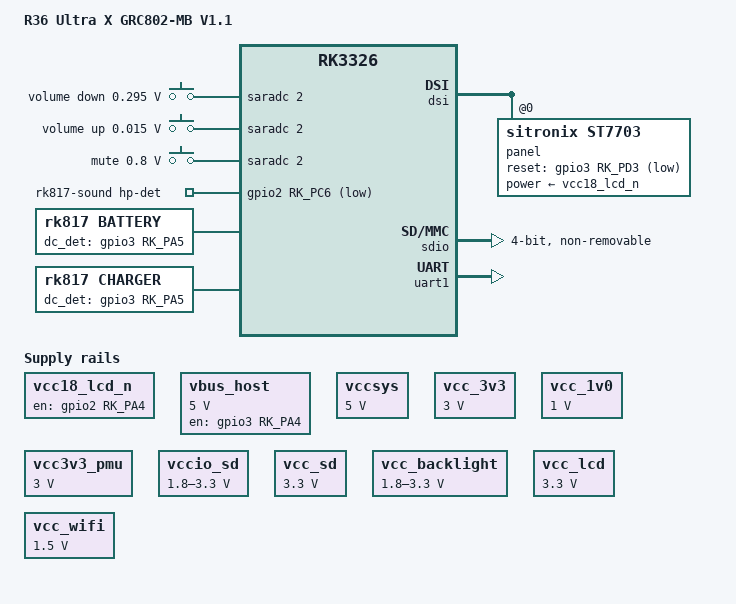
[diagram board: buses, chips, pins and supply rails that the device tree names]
// SPDX-License-Identifier: (GPL-2.0+ OR MIT)
/* GRC802-MB V1.1, R36 Ultra X. Pins and panel data from stock EmuELEC. */
/dts-v1/;
#include "rk3326-r36s-android.dtsi"

/* Keep one canonical pad; stock working UDT uses the EE SARADC1 mux. */
/delete-node/ &gpio_keys;
/delete-node/ &leds;
/delete-node/ &{/rk817-sound};

/ {
	model = "R36 Ultra X GRC802-MB V1.1";
	compatible = "grc802,r36-ultra-x", "rockchip,rk3326";

	firmware {
		android {
			compatible = "android,firmware";
			lcd_density = "304";
		};
	};





	/* Stock volume ladder on ADC2; sticks now use the proven SARADC1 mux. */
	adc-keys {
		compatible = "adc-keys";
		io-channels = <&saradc 2>;
		io-channel-names = "buttons";
		poll-interval = <100>;
		keyup-threshold-microvolt = <1800000>;
		vol-down { label = "volume down"; linux,code = <KEY_VOLUMEDOWN>; press-threshold-microvolt = <295000>; };
		vol-up { label = "volume up"; linux,code = <KEY_VOLUMEUP>; press-threshold-microvolt = <15000>; };
		mute { label = "mute"; linux,code = <KEY_MUTE>; press-threshold-microvolt = <800000>; };
	};

	vcc18_lcd_n: vcc18-lcd-n {
		compatible = "regulator-fixed";
		regulator-name = "vcc18_lcd_n";
		regulator-boot-on;
		gpio = <&gpio2 RK_PA4 GPIO_ACTIVE_HIGH>;
		enable-active-high;
		regulator-state-mem { regulator-off-in-suspend; };
	};

	vbus_host: vbus-host-regulator {
		compatible = "regulator-fixed";
		regulator-name = "vbus_host";
		regulator-boot-on;
		regulator-always-on;
		gpio = <&gpio3 RK_PA4 GPIO_ACTIVE_HIGH>;
		enable-active-high;
		regulator-min-microvolt = <5000000>;
		regulator-max-microvolt = <5000000>;
	};

	rk817-sound {
		compatible = "simple-audio-card";
		simple-audio-card,name = "rockchip,rk817-codec";
		simple-audio-card,format = "i2s";
		simple-audio-card,mclk-fs = <256>;
		simple-audio-card,widgets = "Microphone", "Mic Jack", "Headphone", "Headphone Jack";
		simple-audio-card,routing = "MIC_IN", "Mic Jack", "Headphone Jack", "HPOL", "Headphone Jack", "HPOR";
		simple-audio-card,hp-det-gpio = <&gpio2 RK_PC6 GPIO_ACTIVE_LOW>;
		pinctrl-names = "default";
		pinctrl-0 = <&grc802_hp_det>;
		simple-audio-card,cpu { sound-dai = <&i2s1_2ch>; };
		simple-audio-card,codec { sound-dai = <&rk817_codec>; };
	};
};

&pinctrl {
	grc802 {
		grc802_button_pins: button-pins {
			rockchip,pins =
				<3 RK_PB3 RK_FUNC_GPIO &pcfg_pull_up>,
				<3 RK_PA0 RK_FUNC_GPIO &pcfg_pull_up>,
				<3 RK_PB5 RK_FUNC_GPIO &pcfg_pull_up>,
				<3 RK_PA6 RK_FUNC_GPIO &pcfg_pull_up>,
				<3 RK_PC0 RK_FUNC_GPIO &pcfg_pull_up>,
				<3 RK_PC1 RK_FUNC_GPIO &pcfg_pull_up>,
				<3 RK_PC2 RK_FUNC_GPIO &pcfg_pull_up>,
				<3 RK_PC3 RK_FUNC_GPIO &pcfg_pull_up>,
				<3 RK_PC4 RK_FUNC_GPIO &pcfg_pull_up>,
				<3 RK_PC5 RK_FUNC_GPIO &pcfg_pull_up>,
				<3 RK_PC6 RK_FUNC_GPIO &pcfg_pull_up>,
				<3 RK_PC7 RK_FUNC_GPIO &pcfg_pull_up>,
				<3 RK_PD0 RK_FUNC_GPIO &pcfg_pull_up>,
				<3 RK_PD1 RK_FUNC_GPIO &pcfg_pull_up>,
				<3 RK_PD2 RK_FUNC_GPIO &pcfg_pull_up>,
				<2 RK_PB2 RK_FUNC_GPIO &pcfg_pull_up>,
				<2 RK_PB5 RK_FUNC_GPIO &pcfg_pull_up>,
				<2 RK_PB6 RK_FUNC_GPIO &pcfg_pull_up>,
				<2 RK_PB3 RK_FUNC_GPIO &pcfg_pull_up>,
				<2 RK_PB7 RK_FUNC_GPIO &pcfg_pull_up>,
				<2 RK_PC0 RK_FUNC_GPIO &pcfg_pull_up>;
		};
		grc802_hp_det: hp-det { rockchip,pins = <2 RK_PC6 RK_FUNC_GPIO &pcfg_pull_up>; };
	};
};

&backlight {
    pwms = <&pwm1 0 25000 0>;
    brightness-levels = <
        0 1 2 3 4 5 6 7 8 9 10 11 12 13 14 15
        16 17 18 19 20 21 22 23 24 25 26 27 28 29 30 31
        32 33 34 35 36 37 38 39 40 41 42 43 44 45 46 47
        48 49 50 51 52 53 54 55 56 57 58 59 60 61 62 63
        64 65 66 67 68 69 70 71 72 73 74 75 76 77 78 79
        80 81 82 83 84 85 86 87 88 89 90 91 92 93 94 95
        96 97 98 99 100 101 102 103 104 105 106 107 108 109 110 111
        112 113 114 115 116 117 118 119 120 121 122 123 124 125 126 127
        128 129 130 131 132 133 134 135 136 137 138 139 140 141 142 143
        144 145 146 147 148 149 150 151 152 153 154 155 156 157 158 159
        160 161 162 163 164 165 166 167 168 169 170 171 172 173 174 175
        176 177 178 179 180 181 182 183 184 185 186 187 188 189 190 191
        192 193 194 195 196 197 198 199 200 201 202 203 204 205 206 207
        208 209 210 211 212 213 214 215 216 217 218 219 220 221 222 223
        224 225 226 227 228 229 230 231 232 233 234 235 236 237 238 239
        240 241 242 243 244 245 246 247 248 249 250 251 252 253 254 255
    >;
    default-brightness-level = <200>;
};
&status_led { status = "disabled"; };
&pwm0 { status = "disabled"; };

&dsi {
	panel@0 {
		compatible = "sitronix,st7703", "simple-panel-dsi";
		power-supply = <&vcc18_lcd_n>;
		reset-gpios = <&gpio3 RK_PD3 GPIO_ACTIVE_LOW>;
		prepare-delay-ms = <20>;
		reset-delay-ms = <20>;
		init-delay-ms = <20>;
		enable-delay-ms = <120>;
		disable-delay-ms = <20>;
		unprepare-delay-ms = <20>;
		width-mm = <153>;
		height-mm = <85>;
		dsi,flags = <0xa03>;
		dsi,format = <0>;
		dsi,lanes = <4>;
		panel-init-sequence = [
			15 00 02 ee 01 15 00 02 ea 07 15 00 02 eb 12 15 00 02 0a 5e
			15 00 02 13 14 15 00 02 17 35 15 00 02 1d 33 15 00 02 21 01
			15 00 02 28 28 15 00 02 29 18 15 00 02 2a 63 15 00 02 2f f3
			15 00 02 ee 02 15 00 02 39 a9 15 00 02 00 00 15 00 02 01 0d
			15 00 02 02 12 15 00 02 03 08 15 00 02 04 0e 15 00 02 05 30
			15 00 02 06 0b 15 00 02 07 0e 15 00 02 08 0f 15 00 02 09 0e
			15 00 02 0a 11 15 00 02 0b 4e 15 00 02 0c 14 15 00 02 0d 1a
			15 00 02 0e 2f 15 00 02 0f 36 15 00 02 10 3f 15 00 02 20 00
			15 00 02 21 0d 15 00 02 22 12 15 00 02 23 08 15 00 02 24 0e
			15 00 02 25 30 15 00 02 26 0b 15 00 02 27 0e 15 00 02 28 0f
			15 00 02 29 0e 15 00 02 2a 11 15 00 02 2b 4e 15 00 02 2c 14
			15 00 02 2d 1a 15 00 02 2e 2f 15 00 02 2f 36 15 00 02 30 3f
			15 00 02 ee 04 15 00 02 00 05 15 00 02 01 01 15 00 02 02 80
			15 00 02 03 04 15 00 02 04 00 15 00 02 06 06 15 00 02 07 05
			15 00 02 08 1a 15 00 02 09 20 15 00 02 0a 0e 15 00 02 0b 00
			15 00 02 20 40 15 00 02 24 08 15 00 02 ee 05 15 00 02 00 01
			15 00 02 01 09 15 00 02 02 05 15 00 02 03 05 15 00 02 07 05
			15 00 02 08 0d 15 00 02 09 00 15 00 02 0a 12 15 00 02 0b 14
			15 00 02 0c 66 15 00 02 10 03 15 00 02 11 07 15 00 02 12 05
			15 00 02 13 05 15 00 02 19 12 15 00 02 1a f6 15 00 02 40 55
			15 00 02 41 00 15 00 02 43 03 15 00 02 44 01 15 00 02 45 81
			15 00 02 46 06 15 00 02 47 00 15 00 02 ee 06 15 00 02 00 45
			15 00 02 02 01 15 00 02 04 88 15 00 02 06 cd 15 00 02 08 ef
			15 00 02 09 cd 15 00 02 0a ab 15 00 02 0b 89 15 00 02 0c 67
			15 00 02 0d 45 15 00 02 0e 23 15 00 02 0f 01 15 00 02 ee 07
			15 00 02 00 3c 15 00 02 01 3c 15 00 02 02 3c 15 00 02 03 3c
			15 00 02 04 0d 15 00 02 05 3c 15 00 02 06 3c 15 00 02 07 3c
			15 00 02 08 08 15 00 02 09 10 15 00 02 0a 12 15 00 02 0b 14
			15 00 02 0c 16 15 00 02 0d 18 15 00 02 0e 1a 15 00 02 0f 1c
			15 00 02 10 1e 15 00 02 11 04 15 00 02 12 00 15 00 02 13 3c
			15 00 02 14 0c 15 00 02 15 3c 15 00 02 20 3c 15 00 02 21 3c
			15 00 02 22 3c 15 00 02 23 3c 15 00 02 24 0d 15 00 02 25 3c
			15 00 02 26 3c 15 00 02 27 3c 15 00 02 28 08 15 00 02 29 11
			15 00 02 2a 13 15 00 02 2b 15 15 00 02 2c 17 15 00 02 2d 19
			15 00 02 2e 1b 15 00 02 2f 1d 15 00 02 30 1f 15 00 02 31 05
			15 00 02 32 01 15 00 02 33 3c 15 00 02 34 0c 15 00 02 35 3c
			15 00 02 ee 08 15 00 02 10 00 15 00 02 12 dc 15 00 02 13 1c
			15 00 02 17 23 15 00 02 18 20 15 00 02 20 80 15 00 02 ee 0f
			15 00 02 00 01 15 00 02 01 00 15 00 02 ee 00 15 00 02 ea 00
			15 00 02 eb 00 15 00 02 36 00 05 c8 01 11 05 14 01 29
		];
		panel-exit-sequence = [05 00 01 28 05 00 01 10];
	};
};

&timing0 {
	clock-frequency = <62000000>;
	hactive = <1024>;
	vactive = <768>;
	hfront-porch = <90>;
	hsync-len = <80>;
	hback-porch = <80>;
	vfront-porch = <16>;
	vsync-len = <8>;
	vback-porch = <8>;
	hsync-active = <0>;
	vsync-active = <0>;
	de-active = <0>;
	pixelclk-active = <0>;
};

/* The base already routes DSI through VOPB, as on R46H. */
&dmc_opp_table { opp-786000000 { status = "disabled"; }; };
&uart2 { status = "disabled"; };
&{/fiq-debugger} {
	/* Preserve this board's existing UART5 routing; no new console. */
	status = "okay"; rockchip,serial-id = <5>; pinctrl-0 = <&uart5_xfer>; };
&sdio { status = "disabled"; };
&{/wireless-wlan} { status = "disabled"; };
&u2phy_host { phy-supply = <&vbus_host>; };

&rk817 {
	battery {
				compatible = "rk817,battery";
				ocv_table = <0xdac 0xdc5 0xdea 0xe07 0xe20 0xe33 0xe45 0xe58 0xe6f 0xe8d 0xeb1 0xedd 0xf0a 0xf35 0xf60 0xf89 0xfb1 0xfd4 0xff6 0x101d 0x1053>;
				design_capacity = <0xe03>;
				design_qmax = <0x1013>;
				bat_res = <0x6d>;
				design_max_voltage = <0x1018>;
				sleep_enter_current = <0x12c>;
				sleep_exit_current = <0x12c>;
				sleep_filter_current = <0x64>;
				power_off_thresd = <0xdac>;
				zero_algorithm_vol = <0xf0a>;
				max_soc_offset = <0x3c>;
				monitor_sec = <0x5>;
				sample_res = <0xa>;
				virtual_power = <0x0>;
				dc_det_gpio = <&gpio3 RK_PA5 GPIO_ACTIVE_HIGH>;
			};
	charger {
		/delete-property/ bat_low_gpio;
				compatible = "rk817,charger";
				min_input_voltage = <0x1194>;
				max_input_current = <0x640>;
				max_chrg_current = <0x640>;
				max_chrg_voltage = <0x10fe>;
				chrg_term_mode = <0x0>;
				chrg_finish_cur = <0x12c>;
				virtual_power = <0x0>;
				dc_det_gpio = <&gpio3 RK_PA5 GPIO_ACTIVE_HIGH>;
				dc_det_adc = <0x0>;
				extcon = <&u2phy>;
			};
};
&rk817_codec {
	spk-ctl-gpios = <&gpio3 RK_PA7 GPIO_ACTIVE_HIGH>;
	spk-mute-delay-ms = <500>;
	use-ext-amplifier;
	hp-volume = <15>;
	spk-volume = <15>;
};
&pmic_int { rockchip,pins = <0 RK_PB2 RK_FUNC_GPIO &pcfg_pull_up>; };
&vccsys { regulator-name = "vcc5v0_sys"; regulator-boot-on; regulator-min-microvolt = <5000000>; regulator-max-microvolt = <5000000>; };

/* DCDC_REG4 feeds vccio4/5: stock is 3.0 V, not the base label's 3.3 V. */
&vcc_3v3 {
    regulator-name = "vcc_3v0";
    regulator-always-on;
    regulator-boot-on;
    regulator-min-microvolt = <3000000>;
    regulator-max-microvolt = <3000000>;
    regulator-state-mem {
        regulator-on-in-suspend;
        regulator-suspend-microvolt = <3000000>;
    };
};

&vcc_1v0 {
					regulator-always-on;
					regulator-boot-on;
					regulator-min-microvolt = <0xf4240>;
					regulator-max-microvolt = <0xf4240>;
					regulator-name = "vcc1v0_soc";

					regulator-state-mem {
						regulator-on-in-suspend;
						regulator-suspend-microvolt = <0xf4240>;
					};
				};

&vcc3v3_pmu {
					regulator-always-on;
					regulator-boot-on;
					regulator-min-microvolt = <0x2dc6c0>;
					regulator-max-microvolt = <0x2dc6c0>;
					regulator-name = "vcc3v0_pmu";

					regulator-state-mem {
						regulator-on-in-suspend;
						regulator-suspend-microvolt = <0x2dc6c0>;
					};
				};

&vccio_sd {
					regulator-always-on;
					regulator-boot-on;
					regulator-min-microvolt = <0x1b7740>;
					regulator-max-microvolt = <0x325aa0>;
					regulator-name = "vccio_sd";

					regulator-state-mem {
						regulator-on-in-suspend;
						regulator-suspend-microvolt = <0x325aa0>;
					};
				};

&vcc_sd {
					regulator-min-microvolt = <0x325aa0>;
					regulator-max-microvolt = <0x325aa0>;
					regulator-name = "vcc_sd";

					regulator-state-mem {
						regulator-on-in-suspend;
						regulator-suspend-microvolt = <0x325aa0>;
					};
				};

&vcc_backlight {
					regulator-always-on;
					regulator-boot-on;
					regulator-min-microvolt = <0x1b7740>;
					regulator-max-microvolt = <0x325aa0>;
					regulator-name = "vcc2v8_dvp";

					regulator-state-mem {
						regulator-on-in-suspend;
						regulator-suspend-microvolt = <0x325aa0>;
					};
				};

&vcc_lcd {
					regulator-always-on;
					regulator-boot-on;
					regulator-min-microvolt = <0x325aa0>;
					regulator-max-microvolt = <0x325aa0>;
					regulator-name = "vcc1v8_dvp";

					regulator-state-mem {
						regulator-on-in-suspend;
						regulator-suspend-microvolt = <0x325aa0>;
					};
				};

&vcc_wifi {
					regulator-always-on;
					regulator-boot-on;
					regulator-min-microvolt = <0x16e360>;
					regulator-max-microvolt = <0x16e360>;
					regulator-name = "vdd1v5_dvp";

					regulator-state-mem {
						regulator-off-in-suspend;
						regulator-suspend-microvolt = <0x16e360>;
					};
				};

&io_domains {
	vccio1-supply = <&vcc_backlight>;
	vccio2-supply = <&vccio_sd>;
	vccio3-supply = <&vcc1v8_soc>;
	vccio4-supply = <&vcc_3v3>;
	vccio5-supply = <&vcc_3v3>;
	/delete-property/ vccio6-supply;
};

/* Stock SV6160/RK915 wiring; reuse the existing vendor RK915 driver. */
/ {

	wireless-bluetooth {
		compatible = "bluetooth-platdata";
		clock-names = "ext_clock";
		uart_rts_gpios = <&gpio1 RK_PC3 GPIO_ACTIVE_LOW>;
		pinctrl-names = "default", "rts_gpio";
		pinctrl-0 = <&uart1_rts>;
		pinctrl-1 = <&uart1_rts_gpio>;
		BT,reset_gpio = <&gpio0 RK_PA0 GPIO_ACTIVE_HIGH>;
		BT,wake_gpio = <&gpio0 RK_PA1 GPIO_ACTIVE_HIGH>;
		BT,wake_host_irq = <&gpio0 RK_PA7 GPIO_ACTIVE_HIGH>;
		/* Disabled in stock. No compatible Seekwave BT transport is ported. */
		status = "disabled";
	};

	/* Stock's alternate boot binding is disabled and uses A5 for host wake. */
	seekwcn_boot {
		compatible = "seekwave,sv6160";
		dma_type = <1>;
		gpio_host_wake = <&gpio0 RK_PA5 GPIO_ACTIVE_LOW>;
		gpio_chip_wake = <&gpio0 RK_PA1 GPIO_ACTIVE_HIGH>;
		gpio_chip_en = <&gpio0 RK_PA2 GPIO_ACTIVE_HIGH>;
		status = "disabled";
	};
};

&{/wireless-wlan} {
	wifi_chip_type = "rk915";
	WIFI,poweren_gpio = <&gpio0 RK_PA2 GPIO_ACTIVE_HIGH>;
	WIFI,host_wake_irq = <&gpio0 RK_PA1 GPIO_ACTIVE_HIGH>;
	/* Vendor rfkill power glue is the sole owner of GPIO0_A2. */
	status = "okay";
};

&sdio {
	/delete-property/ andr36oid,second-card-slot;
	/delete-property/ cd-gpios;
	/delete-property/ supports-sd;
	/delete-property/ cap-mmc-highspeed;
	/delete-property/ sd-uhs-sdr12;
	/delete-property/ sd-uhs-sdr25;
	/delete-property/ sd-uhs-sdr50;
	/delete-property/ sd-uhs-sdr104;
	/delete-property/ card-detect-delay;
	/delete-property/ vmmc-supply;
	/delete-property/ vqmmc-supply;
	#address-cells = <1>;
	#size-cells = <0>;
	bus-width = <4>;
	max-frequency = <50000000>;
	cap-sd-highspeed;
	cap-sdio-irq;
	supports-sdio;
	supports-rk915;
	keep-power-in-suspend;
	non-removable;
	pinctrl-names = "default";
	pinctrl-0 = <&sdio_bus4 &sdio_cmd &sdio_clk>;
	status = "okay";

};

/* Stock enables UART1 with CTS, leaving RTS to bluetooth-platdata. */
&uart1 {
	pinctrl-names = "default";
	pinctrl-0 = <&uart1_xfer &uart1_cts>;
	status = "okay";
};


/* Latest reporter-corrected functioning UDT R36UltraX tree:
 * SARADC1 behind A/B/EN = GPIO2_C0/B7/B3, map 2,3,1,0.
 * The vendor micro,gamepad's button0..3 do NOT establish direct ADC axes.
 * Preserve its actual native rg351 code namespace explicitly (no guessing).
 */
&joypad {
	andr36oid,keycode-set = "rg351";
	andr36oid,no-rumble;
	pinctrl-0 = <&grc802_button_pins>;
	io-channels = <&saradc 1>;
	io-channel-names = "amux_adc";
	amux-count = <4>;
	amux-channel-mapping = <2 3 1 0>;
	amux-a-gpios = <&gpio2 RK_PC0 GPIO_ACTIVE_LOW>;
	amux-b-gpios = <&gpio2 RK_PB7 GPIO_ACTIVE_LOW>;
	amux-en-gpios = <&gpio2 RK_PB3 GPIO_ACTIVE_LOW>;
	invert-absx;
	invert-absy;
	/delete-property/ invert-absrx;
	/delete-property/ invert-absry;
	sw1 { gpios = <&gpio3 22 GPIO_ACTIVE_LOW>; linux,code = <544>; };
	sw2 { gpios = <&gpio3 23 GPIO_ACTIVE_LOW>; linux,code = <545>; };
	sw3 { gpios = <&gpio3 20 GPIO_ACTIVE_LOW>; linux,code = <546>; };
	sw4 { gpios = <&gpio3 21 GPIO_ACTIVE_LOW>; linux,code = <547>; };
	sw5 { gpios = <&gpio3 16 GPIO_ACTIVE_LOW>; linux,code = <305>; };
	sw6 { gpios = <&gpio3 17 GPIO_ACTIVE_LOW>; linux,code = <304>; };
	sw7 { gpios = <&gpio3 19 GPIO_ACTIVE_LOW>; linux,code = <308>; };
	sw8 { gpios = <&gpio3 18 GPIO_ACTIVE_LOW>; linux,code = <307>; };
	sw11 { gpios = <&gpio2 14 GPIO_ACTIVE_LOW>; linux,code = <707>; };
	sw12 { gpios = <&gpio2 13 GPIO_ACTIVE_LOW>; linux,code = <706>; };
	sw13 { gpios = <&gpio3 26 GPIO_ACTIVE_LOW>; linux,code = <708>; };
	sw15 { gpios = <&gpio3 13 GPIO_ACTIVE_LOW>; linux,code = <310>; };
	sw16 { gpios = <&gpio3 11 GPIO_ACTIVE_LOW>; linux,code = <311>; };
	sw19 { gpios = <&gpio3 24 GPIO_ACTIVE_LOW>; linux,code = <704>; };
	sw20 { gpios = <&gpio3 0 GPIO_ACTIVE_LOW>; linux,code = <313>; };
	sw21 { gpios = <&gpio3 6 GPIO_ACTIVE_LOW>; linux,code = <312>; };
	sw22 { gpios = <&gpio3 25 GPIO_ACTIVE_LOW>; linux,code = <705>; };
};
